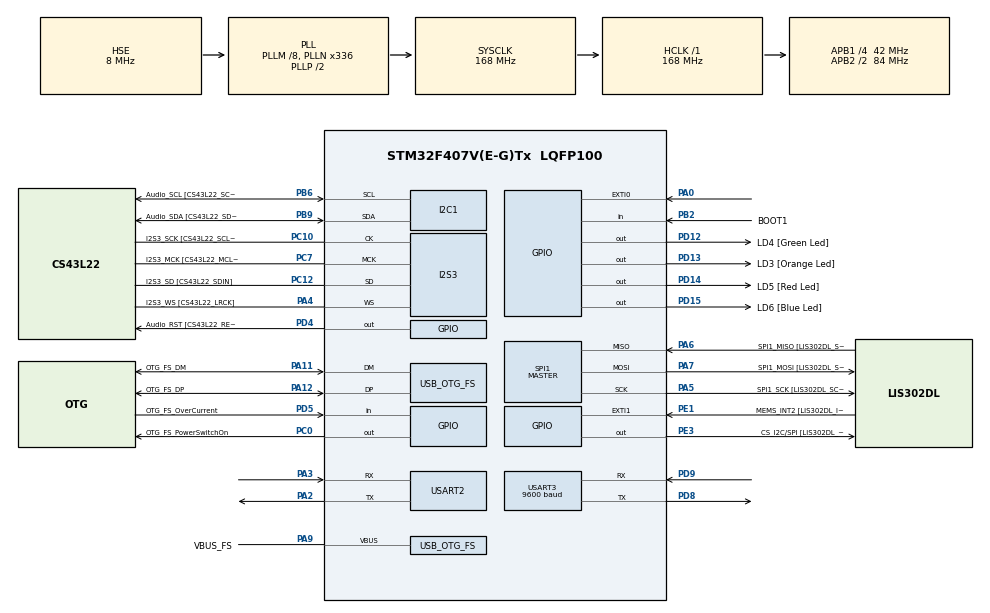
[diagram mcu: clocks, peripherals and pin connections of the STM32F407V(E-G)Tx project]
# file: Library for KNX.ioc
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FREERTOS.BinarySemaphores01=myBinarySem01,Dynamic,NULL
FREERTOS.Mutexes01=myMutex01,Dynamic,NULL
FREERTOS.Queues01=myQueue01,16,uint16_t,0,Dynamic,NULL,NULL
FREERTOS.Tasks01=defaultTask,0,128,StartDefaultTask,Default,NULL,Dynamic,NULL,NULL;myTask02,0,128,StartTask02,Default,NULL,Dynamic,NULL,NULL;myTask03,0,128,StartTask03,Default,NULL,Dynamic,NULL,NULL;myTask04,0,128,Send_Task,Default,NULL,Dynamic,NULL,NULL;myTask05,0,128,Receive_Task,Default,NULL,Dynamic,NULL,NULL;myTask06,0,128,Mutex_Task,Default,NULL,Dynamic,NULL,NULL
I2S3.AudioFreq-Half_Duplex_Master=I2S_AUDIOFREQ_96K
I2S3.ErrorAudioFreq=-2.34 %
I2S3.ErrorAudioFreq-Half_Duplex_Master=0.8 %
I2S3.FullDuplexMode=I2S_FULLDUPLEXMODE_DISABLE
I2S3.Instance=SPI$Index
I2S3.RealAudioFreq=93.75 KHz
I2S3.RealAudioFreq-Half_Duplex_Master=96.774 KHz
I2S3.VirtualMode=I2S_MODE_MASTER
Mcu.Family=STM32F4
Mcu.Name=STM32F407V(E-G)Tx
Mcu.Package=LQFP100
NVIC.EXTI0_IRQn=true\:0\:0\:false\:false\:true\:false\:true
NVIC.OTG_FS_IRQn=true\:5\:0\:false\:false\:true\:true\:true
NVIC.PriorityGroup=NVIC_PRIORITYGROUP_4
NVIC.USART2_IRQn=true\:5\:0\:false\:false\:true\:true\:true
NVIC.USART3_IRQn=true\:5\:0\:false\:false\:true\:true\:true
PA0-WKUP.Signal=GPXTI0
PA10.GPIO_Label=OTG_FS_ID
PA10.GPIO_Mode=GPIO_MODE_AF_PP
PA10.GPIO_PuPd=GPIO_NOPULL
PA10.GPIO_Speed=GPIO_SPEED_FREQ_LOW
PA10.Signal=USB_OTG_FS_ID
PA11.GPIO_Label=OTG_FS_DM
PA11.GPIO_Mode=GPIO_MODE_AF_PP
PA11.GPIO_PuPd=GPIO_NOPULL
PA11.GPIO_Speed=GPIO_SPEED_FREQ_LOW
PA11.Mode=Host_Only
PA11.Signal=USB_OTG_FS_DM
PA12.GPIO_Label=OTG_FS_DP
PA12.GPIO_Mode=GPIO_MODE_AF_PP
PA12.GPIO_PuPd=GPIO_NOPULL
PA12.GPIO_Speed=GPIO_SPEED_FREQ_LOW
PA12.Mode=Host_Only
PA12.Signal=USB_OTG_FS_DP
PA13.GPIO_Label=SWDIO
PA13.Mode=Serial_Wire
PA13.Signal=SYS_JTMS-SWDIO
PA14.GPIO_Label=SWCLK
PA14.Mode=Serial_Wire
PA14.Signal=SYS_JTCK-SWCLK
PA2.Mode=Asynchronous
PA2.Signal=USART2_TX
PA3.Mode=Asynchronous
PA3.Signal=USART2_RX
PA4.GPIO_Label=I2S3_WS [CS43L22_LRCK]
PA4.GPIO_Mode=GPIO_MODE_AF_PP
PA4.GPIO_PuPd=GPIO_NOPULL
PA4.GPIO_Speed=GPIO_SPEED_FREQ_LOW
PA4.Mode=Half_Duplex_Master
PA4.Signal=I2S3_WS
PA5.GPIO_Label=SPI1_SCK [LIS302DL_SCL/SPC]
PA5.GPIO_Mode=GPIO_MODE_AF_PP
PA5.GPIO_PuPd=GPIO_NOPULL
PA5.GPIO_Speed=GPIO_SPEED_FREQ_LOW
PA5.Mode=Full_Duplex_Master
PA5.Signal=SPI1_SCK
PA6.GPIO_Label=SPI1_MISO [LIS302DL_SDO]
PA6.GPIO_Mode=GPIO_MODE_AF_PP
PA6.GPIO_PuPd=GPIO_NOPULL
PA6.GPIO_Speed=GPIO_SPEED_FREQ_LOW
PA6.Mode=Full_Duplex_Master
PA6.Signal=SPI1_MISO
PA7.GPIO_Label=SPI1_MOSI [LIS302DL_SDA/SDI/SDO]
PA7.GPIO_Mode=GPIO_MODE_AF_PP
PA7.GPIO_PuPd=GPIO_NOPULL
PA7.GPIO_Speed=GPIO_SPEED_FREQ_LOW
PA7.Mode=Full_Duplex_Master
PA7.Signal=SPI1_MOSI
PA9.GPIO_Label=VBUS_FS
PA9.GPIO_Mode=GPIO_MODE_INPUT
PA9.GPIO_PuPd=GPIO_NOPULL
PA9.Mode=Activate_VBUS
PA9.Signal=USB_OTG_FS_VBUS
PB10.GPIO_Label=CLK_IN [MP45DT02_CLK]
PB10.GPIO_Mode=GPIO_MODE_AF_PP
PB10.GPIO_PuPd=GPIO_NOPULL
PB10.GPIO_Speed=GPIO_SPEED_FREQ_LOW
PB10.Signal=I2S2_CK
PB2.GPIO_Label=BOOT1
PB2.GPIO_Mode=GPIO_MODE_INPUT
PB2.GPIO_PuPd=GPIO_NOPULL
PB2.Signal=GPIO_Input
PB3.GPIO_Label=SWO
PB3.Signal=SYS_JTDO-SWO
PB6.GPIO_Label=Audio_SCL [CS43L22_SCL]
PB6.GPIO_Mode=GPIO_MODE_AF_OD
PB6.GPIO_PuPd=GPIO_NOPULL
PB6.GPIO_Speed=GPIO_SPEED_FREQ_LOW
PB6.Mode=I2C
PB6.Signal=I2C1_SCL
PB9.GPIO_Label=Audio_SDA [CS43L22_SDA]
PB9.GPIO_Mode=GPIO_MODE_AF_OD
PB9.GPIO_PuPd=GPIO_NOPULL
PB9.GPIO_Speed=GPIO_SPEED_FREQ_LOW
PB9.Mode=I2C
PB9.Signal=I2C1_SDA
PC0.GPIO_Label=OTG_FS_PowerSwitchOn
PC0.GPIO_PuPd=GPIO_NOPULL
PC0.GPIO_Speed=GPIO_SPEED_FREQ_LOW
PC0.PinState=GPIO_PIN_SET
PC0.Signal=GPIO_Output
PC10.GPIO_Label=I2S3_SCK [CS43L22_SCLK]
PC10.GPIO_Mode=GPIO_MODE_AF_PP
PC10.GPIO_PuPd=GPIO_NOPULL
PC10.GPIO_Speed=GPIO_SPEED_FREQ_LOW
PC10.Mode=Half_Duplex_Master
PC10.Signal=I2S3_CK
PC12.GPIO_Label=I2S3_SD [CS43L22_SDIN]
PC12.GPIO_Mode=GPIO_MODE_AF_PP
PC12.GPIO_PuPd=GPIO_NOPULL
PC12.GPIO_Speed=GPIO_SPEED_FREQ_LOW
PC12.Mode=Half_Duplex_Master
PC12.Signal=I2S3_SD
PC14-OSC32_IN.GPIO_Label=PC14-OSC32_IN
PC14-OSC32_IN.Mode=LSE-External-Oscillator
PC14-OSC32_IN.Signal=RCC_OSC32_IN
PC15-OSC32_OUT.GPIO_Label=PC15-OSC32_OUT
PC15-OSC32_OUT.Mode=LSE-External-Oscillator
PC15-OSC32_OUT.Signal=RCC_OSC32_OUT
PC3.GPIO_Label=PDM_OUT [MP45DT02_DOUT]
PC3.GPIO_Mode=GPIO_MODE_AF_PP
PC3.GPIO_PuPd=GPIO_NOPULL
PC3.GPIO_Speed=GPIO_SPEED_FREQ_LOW
PC3.Signal=I2S2_SD
PC7.GPIO_Label=I2S3_MCK [CS43L22_MCLK]
PC7.GPIO_Mode=GPIO_MODE_AF_PP
PC7.GPIO_PuPd=GPIO_NOPULL
PC7.GPIO_Speed=GPIO_SPEED_FREQ_LOW
PC7.Mode=Master_Clock_Activated
PC7.Signal=I2S3_MCK
PD12.GPIO_Label=LD4 [Green Led]
PD12.GPIO_PuPd=GPIO_NOPULL
PD12.GPIO_Speed=GPIO_SPEED_FREQ_LOW
PD12.Signal=GPIO_Output
PD13.GPIO_Label=LD3 [Orange Led]
PD13.GPIO_PuPd=GPIO_NOPULL
PD13.GPIO_Speed=GPIO_SPEED_FREQ_LOW
PD13.Signal=GPIO_Output
PD14.GPIO_Label=LD5 [Red Led]
PD14.GPIO_PuPd=GPIO_NOPULL
PD14.GPIO_Speed=GPIO_SPEED_FREQ_LOW
PD14.Signal=GPIO_Output
PD15.GPIO_Label=LD6 [Blue Led]
PD15.GPIO_PuPd=GPIO_NOPULL
PD15.GPIO_Speed=GPIO_SPEED_FREQ_LOW
PD15.Signal=GPIO_Output
PD4.GPIO_Label=Audio_RST [CS43L22_RESET]
PD4.GPIO_PuPd=GPIO_NOPULL
PD4.GPIO_Speed=GPIO_SPEED_FREQ_LOW
PD4.Signal=GPIO_Output
PD5.GPIO_Label=OTG_FS_OverCurrent
PD5.GPIO_Mode=GPIO_MODE_INPUT
PD5.GPIO_PuPd=GPIO_NOPULL
PD5.Signal=GPIO_Input
PD8.Mode=Asynchronous
PD8.Signal=USART3_TX
PD9.Mode=Asynchronous
PD9.Signal=USART3_RX
PE1.GPIO_Label=MEMS_INT2 [LIS302DL_INT2]
PE1.GPIO_ModeDefaultEXTI=GPIO_MODE_EVT_RISING
PE1.GPIO_PuPd=GPIO_NOPULL
PE1.Signal=GPXTI1
PE3.GPIO_Label=CS_I2C/SPI [LIS302DL_CS_I2C/SPI]
PE3.GPIO_PuPd=GPIO_NOPULL
PE3.GPIO_Speed=GPIO_SPEED_FREQ_LOW
PE3.Signal=GPIO_Output
PH0-OSC_IN.GPIO_Label=PH0-OSC_IN
PH0-OSC_IN.Mode=HSE-External-Oscillator
PH0-OSC_IN.Signal=RCC_OSC_IN
PH1-OSC_OUT.GPIO_Label=PH1-OSC_OUT
PH1-OSC_OUT.Mode=HSE-External-Oscillator
PH1-OSC_OUT.Signal=RCC_OSC_OUT
ProjectManager.HeapSize=0x200
ProjectManager.StackSize=0x400
ProjectManager.TargetToolchain=TrueSTUDIO
RCC.48MHZClocksFreq_Value=48000000
RCC.AHBFreq_Value=168000000
RCC.APB1CLKDivider=RCC_HCLK_DIV4
RCC.APB1Freq_Value=42000000
RCC.APB1TimFreq_Value=84000000
RCC.APB2CLKDivider=RCC_HCLK_DIV2
RCC.APB2Freq_Value=84000000
RCC.APB2TimFreq_Value=168000000
RCC.CortexFreq_Value=168000000
RCC.HCLKFreq_Value=168000000
RCC.HSE_VALUE=8000000
RCC.HSI_VALUE=16000000
RCC.PLLM=8
RCC.PLLN=336
RCC.PLLQ=7
RCC.SYSCLKFreq_VALUE=168000000
RCC.SYSCLKSource=RCC_SYSCLKSOURCE_PLLCLK
RCC.VCOOutputFreq_Value=336000000
SPI1.BaudRatePrescaler-Full_Duplex_Master=SPI_BAUDRATEPRESCALER_2
SPI1.CalculateBaudRate-Full_Duplex_Master=42.0 MBits/s
SPI1.Direction=SPI_DIRECTION_2LINES
SPI1.Mode=SPI_MODE_MASTER
SPI1.Mode-Full_Duplex_Master=SPI_MODE_MASTER
SPI1.VirtualType=VM_MASTER
USART2.VirtualMode=VM_ASYNC
USART3.BaudRate=9600
USART3.Parity=PARITY_EVEN
USART3.VirtualMode=VM_ASYNC
USART3.WordLength=WORDLENGTH_9B
USB_HOST.BSP.number=1
USB_HOST.USBH_HandleTypeDef-CDC_FS=hUsbHostFS
USB_HOST.VirtualModeFS=Cdc
USB_HOST0.BSP.STBoard=false
USB_HOST0.BSP.api=Unknown
USB_HOST0.BSP.i2caddr=0
USB_HOST0.BSP.i2creg=0
USB_HOST0.BSP.instance=PC0
USB_HOST0.BSP.ip=GPIO
USB_HOST0.BSP.mode=Output
USB_HOST0.BSP.name=Drive_VBUS_FS
USB_HOST0.BSP.solution=PC0
USB_OTG_FS.VirtualMode=Host_Only
USB_OTG_FS.phy_itface=HCD_PHY_EMBEDDED
VP_FREERTOS_VS_ENABLE.Mode=Enabled
VP_USB_HOST_VS_USB_HOST_CDC_FS.Mode=CDC_FS
board=STM32F4DISCOVERY

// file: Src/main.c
/**
  ******************************************************************************
  * @file           : main.c
  * @brief          : Main program body
  ******************************************************************************
  * This notice applies to any and all portions of this file
  * that are not between comment pairs USER CODE BEGIN and
  * USER CODE END. Other portions of this file, whether
  * inserted by the user or by software development tools
  * are owned by their respective copyright owners.
  *
  * Copyright (c) 2018 STMicroelectronics International N.V.
  * All rights reserved.
  *
  * Redistribution and use in source and binary forms, with or without
  * modification, are permitted, provided that the following conditions are met:
  *
  * 1. Redistribution of source code must retain the above copyright notice,
  *    this list of conditions and the following disclaimer.
  * 2. Redistributions in binary form must reproduce the above copyright notice,
  *    this list of conditions and the following disclaimer in the documentation
  *    and/or other materials provided with the distribution.
  * 3. Neither the name of STMicroelectronics nor the names of other
  *    contributors to this software may be used to endorse or promote products
  *    derived from this software without specific written permission.
  * 4. This software, including modifications and/or derivative works of this
  *    software, must execute solely and exclusively on microcontroller or
  *    microprocessor devices manufactured by or for STMicroelectronics.
  * 5. Redistribution and use of this software other than as permitted under
  *    this license is void and will automatically terminate your rights under
  *    this license.
  *
  * THIS SOFTWARE IS PROVIDED BY STMICROELECTRONICS AND CONTRIBUTORS "AS IS"
  * AND ANY EXPRESS, IMPLIED OR STATUTORY WARRANTIES, INCLUDING, BUT NOT
  * LIMITED TO, THE IMPLIED WARRANTIES OF MERCHANTABILITY, FITNESS FOR A
  * PARTICULAR PURPOSE AND NON-INFRINGEMENT OF THIRD PARTY INTELLECTUAL PROPERTY
  * RIGHTS ARE DISCLAIMED TO THE FULLEST EXTENT PERMITTED BY LAW. IN NO EVENT
  * SHALL STMICROELECTRONICS OR CONTRIBUTORS BE LIABLE FOR ANY DIRECT, INDIRECT,
  * INCIDENTAL, SPECIAL, EXEMPLARY, OR CONSEQUENTIAL DAMAGES (INCLUDING, BUT NOT
  * LIMITED TO, PROCUREMENT OF SUBSTITUTE GOODS OR SERVICES; LOSS OF USE, DATA,
  * OR PROFITS; OR BUSINESS INTERRUPTION) HOWEVER CAUSED AND ON ANY THEORY OF
  * LIABILITY, WHETHER IN CONTRACT, STRICT LIABILITY, OR TORT (INCLUDING
  * NEGLIGENCE OR OTHERWISE) ARISING IN ANY WAY OUT OF THE USE OF THIS SOFTWARE,
  * EVEN IF ADVISED OF THE POSSIBILITY OF SUCH DAMAGE.
  *
  ******************************************************************************
  */
#include "main.h"
#include "stm32f4xx_hal.h"
#include "cmsis_os.h"
#include "i2c.h"
#include "i2s.h"
#include "spi.h"
#include "usart.h"
#include "usb_host.h"
#include "gpio.h"

/* USER CODE BEGIN Includes */

#include "helpers.h"
#include "debug_repo.h"

/* USER CODE END Includes */

/* USER CODE BEGIN PV */
/* Private variables ---------------------------------------------------------*/

/* USER CODE END PV */

void SystemClock_Config(void);
void MX_FREERTOS_Init(void);

/* USER CODE BEGIN PFP */
/* Private function prototypes -----------------------------------------------*/

/* USER CODE END PFP */

int main(void)
{

  /* MCU Configuration----------------------------------------------------------*/

  /* Reset of all peripherals, Initializes the Flash interface and the Systick. */
  HAL_Init();

  /* Configure the system clock */
  SystemClock_Config();

  /* Initialize all configured peripherals */
  MX_GPIO_Init();
  MX_I2C1_Init();
  MX_I2S3_Init();
  MX_SPI1_Init();
  MX_USART2_UART_Init();
  MX_USART3_UART_Init();

  /* Call init function for freertos objects (in freertos.c) */
  MX_FREERTOS_Init();

  /* Start scheduler */
  osKernelStart();

  /* We should never get here as control is now taken by the scheduler */

  /* Infinite loop */
  while (1)
  {

  }

}

void SystemClock_Config(void)
{

  RCC_OscInitTypeDef RCC_OscInitStruct;
  RCC_ClkInitTypeDef RCC_ClkInitStruct;
  RCC_PeriphCLKInitTypeDef PeriphClkInitStruct;

    /**Configure the main internal regulator output voltage
    */
  __HAL_RCC_PWR_CLK_ENABLE();

  __HAL_PWR_VOLTAGESCALING_CONFIG(PWR_REGULATOR_VOLTAGE_SCALE1);

    /**Initializes the CPU, AHB and APB busses clocks
    */
  RCC_OscInitStruct.OscillatorType = RCC_OSCILLATORTYPE_HSE;
  RCC_OscInitStruct.HSEState = RCC_HSE_ON;
  RCC_OscInitStruct.PLL.PLLState = RCC_PLL_ON;
  RCC_OscInitStruct.PLL.PLLSource = RCC_PLLSOURCE_HSE;
  RCC_OscInitStruct.PLL.PLLM = 8;
  RCC_OscInitStruct.PLL.PLLN = 336;
  RCC_OscInitStruct.PLL.PLLP = RCC_PLLP_DIV2;
  RCC_OscInitStruct.PLL.PLLQ = 7;
  if (HAL_RCC_OscConfig(&RCC_OscInitStruct) != HAL_OK)
  {
    _Error_Handler(__FILE__, __LINE__);
  }

    /**Initializes the CPU, AHB and APB busses clocks
    */
  RCC_ClkInitStruct.ClockType = RCC_CLOCKTYPE_HCLK|RCC_CLOCKTYPE_SYSCLK
                              |RCC_CLOCKTYPE_PCLK1|RCC_CLOCKTYPE_PCLK2;
  RCC_ClkInitStruct.SYSCLKSource = RCC_SYSCLKSOURCE_PLLCLK;
  RCC_ClkInitStruct.AHBCLKDivider = RCC_SYSCLK_DIV1;
  RCC_ClkInitStruct.APB1CLKDivider = RCC_HCLK_DIV4;
  RCC_ClkInitStruct.APB2CLKDivider = RCC_HCLK_DIV2;

  if (HAL_RCC_ClockConfig(&RCC_ClkInitStruct, FLASH_LATENCY_5) != HAL_OK)
  {
    _Error_Handler(__FILE__, __LINE__);
  }

  PeriphClkInitStruct.PeriphClockSelection = RCC_PERIPHCLK_I2S;
  PeriphClkInitStruct.PLLI2S.PLLI2SN = 192;
  PeriphClkInitStruct.PLLI2S.PLLI2SR = 2;
  if (HAL_RCCEx_PeriphCLKConfig(&PeriphClkInitStruct) != HAL_OK)
  {
    _Error_Handler(__FILE__, __LINE__);
  }

    /**Configure the Systick interrupt time
    */
  HAL_SYSTICK_Config(HAL_RCC_GetHCLKFreq()/1000);

    /**Configure the Systick
    */
  HAL_SYSTICK_CLKSourceConfig(SYSTICK_CLKSOURCE_HCLK);

  /* SysTick_IRQn interrupt configuration */
  HAL_NVIC_SetPriority(SysTick_IRQn, 15, 0);
}

/* USER CODE BEGIN 4 */

void HAL_GPIO_EXTI_Callback(uint16_t GPIO_Pin)
{
  /* Prevent unused argument(s) compilation warning */
  UNUSED(GPIO_Pin);
  /* NOTE: This function Should not be modified, when the callback is needed,
           the HAL_GPIO_EXTI_Callback could be implemented in the user file
   */
  //osSemaphoreRelease(myBinarySem01Handle);

/* USER CODE END 4 */

void _Error_Handler(char *file, int line)
{
  while(1)
  {
  }
}

/************************ (C) COPYRIGHT STMicroelectronics *****END OF FILE****/

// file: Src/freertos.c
/**
  ******************************************************************************
  * File Name          : freertos.c
  * Description        : Code for freertos applications
  ******************************************************************************
  * This notice applies to any and all portions of this file
  * that are not between comment pairs USER CODE BEGIN and
  * USER CODE END. Other portions of this file, whether
  * inserted by the user or by software development tools
  * are owned by their respective copyright owners.
  *
  * Copyright (c) 2018 STMicroelectronics International N.V.
  * All rights reserved.
  *
  * Redistribution and use in source and binary forms, with or without
  * modification, are permitted, provided that the following conditions are met:
  *
  * 1. Redistribution of source code must retain the above copyright notice,
  *    this list of conditions and the following disclaimer.
  * 2. Redistributions in binary form must reproduce the above copyright notice,
  *    this list of conditions and the following disclaimer in the documentation
  *    and/or other materials provided with the distribution.
  * 3. Neither the name of STMicroelectronics nor the names of other
  *    contributors to this software may be used to endorse or promote products
  *    derived from this software without specific written permission.
  * 4. This software, including modifications and/or derivative works of this
  *    software, must execute solely and exclusively on microcontroller or
  *    microprocessor devices manufactured by or for STMicroelectronics.
  * 5. Redistribution and use of this software other than as permitted under
  *    this license is void and will automatically terminate your rights under
  *    this license.
  *
  * THIS SOFTWARE IS PROVIDED BY STMICROELECTRONICS AND CONTRIBUTORS "AS IS"
  * AND ANY EXPRESS, IMPLIED OR STATUTORY WARRANTIES, INCLUDING, BUT NOT
  * LIMITED TO, THE IMPLIED WARRANTIES OF MERCHANTABILITY, FITNESS FOR A
  * PARTICULAR PURPOSE AND NON-INFRINGEMENT OF THIRD PARTY INTELLECTUAL PROPERTY
  * RIGHTS ARE DISCLAIMED TO THE FULLEST EXTENT PERMITTED BY LAW. IN NO EVENT
  * SHALL STMICROELECTRONICS OR CONTRIBUTORS BE LIABLE FOR ANY DIRECT, INDIRECT,
  * INCIDENTAL, SPECIAL, EXEMPLARY, OR CONSEQUENTIAL DAMAGES (INCLUDING, BUT NOT
  * LIMITED TO, PROCUREMENT OF SUBSTITUTE GOODS OR SERVICES; LOSS OF USE, DATA,
  * OR PROFITS; OR BUSINESS INTERRUPTION) HOWEVER CAUSED AND ON ANY THEORY OF
  * LIABILITY, WHETHER IN CONTRACT, STRICT LIABILITY, OR TORT (INCLUDING
  * NEGLIGENCE OR OTHERWISE) ARISING IN ANY WAY OUT OF THE USE OF THIS SOFTWARE,
  * EVEN IF ADVISED OF THE POSSIBILITY OF SUCH DAMAGE.
  *
  ******************************************************************************
  */

#include "FreeRTOS.h"
#include "task.h"
#include "cmsis_os.h"

osThreadId defaultTaskHandle;
osThreadId myTask02Handle;
osThreadId myTask03Handle;
osThreadId myTask04Handle;
osThreadId myTask05Handle;
osThreadId myTask06Handle;
osMessageQId myQueue01Handle;
osMutexId myMutex01Handle;
osSemaphoreId myBinarySem01Handle;

void StartDefaultTask(void const * argument);
void StartTask02(void const * argument);
void StartTask03(void const * argument);
void Send_Task(void const * argument);
void Receive_Task(void const * argument);
void Mutex_Task(void const * argument);

extern void MX_USB_HOST_Init(void);
void MX_FREERTOS_Init(void); /* (MISRA C 2004 rule 8.1) */

/* Hook prototypes */

/* Init FreeRTOS */

void MX_FREERTOS_Init(void) {

  /* Create the mutex(es) */
  /* definition and creation of myMutex01 */
  osMutexDef(myMutex01);
  myMutex01Handle = osMutexCreate(osMutex(myMutex01));

  /* Create the semaphores(s) */
  /* definition and creation of myBinarySem01 */
  osSemaphoreDef(myBinarySem01);
  myBinarySem01Handle = osSemaphoreCreate(osSemaphore(myBinarySem01), 1);

  /* Create the thread(s) */
  /* definition and creation of defaultTask */
  osThreadDef(defaultTask, StartDefaultTask, osPriorityNormal, 0, 128);
  defaultTaskHandle = osThreadCreate(osThread(defaultTask), NULL);

  /* definition and creation of myTask02 */
  osThreadDef(myTask02, StartTask02, osPriorityNormal, 0, 128);
  myTask02Handle = osThreadCreate(osThread(myTask02), NULL);

  /* definition and creation of myTask03 */
  osThreadDef(myTask03, StartTask03, osPriorityNormal, 0, 128);
  myTask03Handle = osThreadCreate(osThread(myTask03), NULL);

  /* definition and creation of myTask04 */
  osThreadDef(myTask04, Send_Task, osPriorityNormal, 0, 128);
  myTask04Handle = osThreadCreate(osThread(myTask04), NULL);

  /* definition and creation of myTask05 */
  osThreadDef(myTask05, Receive_Task, osPriorityNormal, 0, 128);
  myTask05Handle = osThreadCreate(osThread(myTask05), NULL);

  /* definition and creation of myTask06 */
  osThreadDef(myTask06, Mutex_Task, osPriorityNormal, 0, 128);
  myTask06Handle = osThreadCreate(osThread(myTask06), NULL);

  /* Create the queue(s) */
  /* definition and creation of myQueue01 */
/* what about the sizeof here??? cd native code */
  osMessageQDef(myQueue01, 16, uint16_t);
  myQueue01Handle = osMessageCreate(osMessageQ(myQueue01), NULL);

}

/* StartDefaultTask function */
void StartDefaultTask(void const * argument)
{
  /* init code for USB_HOST */
  MX_USB_HOST_Init();

  /* USER CODE BEGIN StartDefaultTask */

  //uint8_t myTxData[] = "Led PD14 alight \n \r";

  /* Infinite loop */
  for(;;)
  {
	  /*
	  HAL_GPIO_TogglePin(GPIOD, GPIO_PIN_14);

	  if(IS_GPIO_PIN(14))
	  {
         HAL_UART_Transmit(&huart6, myTxData, 30, 10);
         HAL_Delay(1000);
      }
      if(IS_GPIO_PIN(13))
      {
         HAL_UART_Transmit(&huart6, myTxData13, 30, 10);
         HAL_Delay(1000);
      }

	  vTaskDelay(500);
	  */
  }
  /* USER CODE END StartDefaultTask */
}

/* StartTask02 function */
void StartTask02(void const * argument)
{
  /* USER CODE BEGIN StartTask02 */

  //uint8_t myTxData2[] = "Led PD15 alight \n \r";

  /* Infinite loop */
  for(;;)
  {
	  /*
	  HAL_GPIO_TogglePin(GPIOD, GPIO_PIN_15);
	  vTaskDelay(500);
	  */
  }
  /* USER CODE END StartTask02 */
}

/* StartTask03 function */
void StartTask03(void const * argument)
{
  /* USER CODE BEGIN StartTask03 */
  GPIO_PinState myButton = GPIO_PIN_SET;
  int semw_status;

  /* Infinite loop */
  for(;;)
  {
    semw_status = (osStatus)osSemaphoreWait(myBinarySem01Handle, 0);
    if(osOK == semw_status)
    {
    	HAL_GPIO_WritePin(GPIOD, GPIO_PIN_14, myButton);
    	if(GPIO_PIN_SET == myButton)
    	{
    		myButton = GPIO_PIN_RESET;
    	}
    	else
    	{
    		myButton = GPIO_PIN_SET;
    	}
    }
    //vTaskDelay(500);
  }
  /* USER CODE END StartTask03 */
}

/* Send_Task function */
void Send_Task(void const * argument)
{
  /* USER CODE BEGIN Send_Task */

  uint32_t data = GPIO_PIN_SET;

  /* Infinite loop */
  for(;;)
  {

	osMessagePut(myQueue01Handle, data, osWaitForever); // To send a message to the queue
	vTaskDelay(500);

	if(data == GPIO_PIN_SET)
	{
	    data = GPIO_PIN_RESET;
    }
	else
	{
	    data = GPIO_PIN_SET;
	}

  }
  /* USER CODE END Send_Task */
}

/* Receive_Task function */
void Receive_Task(void const * argument)
{
  /* USER CODE BEGIN Receive_Task */

	osEvent event;
	uint16_t message;

  /* Infinite loop */
  for(;;)
  {
	  event = osMessageGet(myQueue01Handle, 0);// wait for message
	  if (event.status == osEventMessage)
	  {
	      message = *(uint16_t *)event.value.p;
	      HAL_GPIO_WritePin(GPIOD, GPIO_PIN_15, message);
	  }

      vTaskDelay(100);
  }
  /* USER CODE END Receive_Task */
}

/* Mutex_Task function */
void Mutex_Task(void const * argument)
{
  for(;;)
  {
    osDelay(1);
  }
}

/************************ (C) COPYRIGHT STMicroelectronics *****END OF FILE****/
